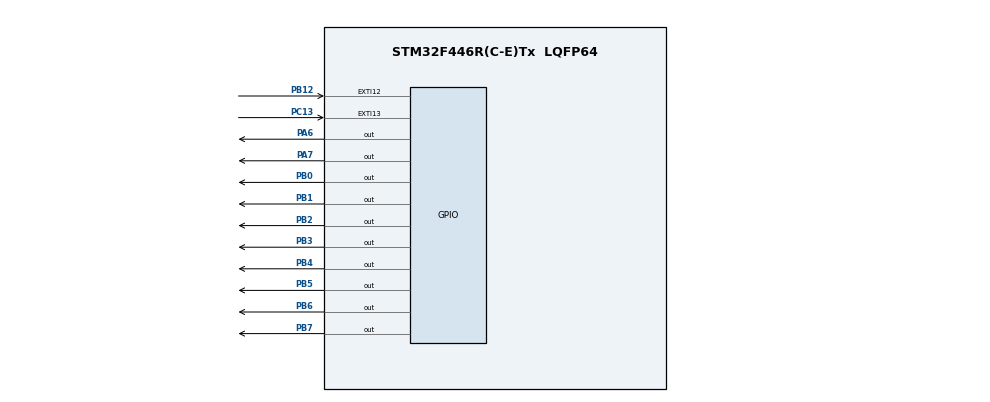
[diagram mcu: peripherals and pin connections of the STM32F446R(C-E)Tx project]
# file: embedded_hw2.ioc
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Mcu.Family=STM32F4
Mcu.Name=STM32F446R(C-E)Tx
Mcu.Package=LQFP64
NVIC.EXTI15_10_IRQn=true\:0\:0\:false\:false\:true\:true\:true\:true
NVIC.PriorityGroup=NVIC_PRIORITYGROUP_4
NVIC.TIM2_IRQn=true\:0\:0\:false\:false\:true\:true\:true\:true
PA6.GPIO_PuPd=GPIO_NOPULL
PA6.Signal=GPIO_Output
PA7.Signal=GPIO_Output
PB0.Signal=GPIO_Output
PB1.Signal=GPIO_Output
PB12.GPIO_PuPd=GPIO_PULLUP
PB12.Signal=GPXTI12
PB2.Signal=GPIO_Output
PB3.Signal=GPIO_Output
PB4.Signal=GPIO_Output
PB5.Signal=GPIO_Output
PB6.Signal=GPIO_Output
PB7.Signal=GPIO_Output
PC13.GPIO_ModeDefaultEXTI=GPIO_MODE_IT_FALLING
PC13.GPIO_PuPd=GPIO_PULLUP
PC13.Signal=GPXTI13
ProjectManager.HeapSize=0x200
ProjectManager.StackSize=0x400
ProjectManager.TargetToolchain=STM32CubeIDE
RCC.CortexFreq_Value=16000000
RCC.USBFreq_Value=96000000
RCC.VCOOutputFreq_Value=192000000
TIM2.Period=9
TIM2.Prescaler=8399
VP_TIM2_VS_ClockSourceINT.Mode=Internal
board=custom

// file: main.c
/* USER CODE BEGIN Header */
/**
  ******************************************************************************
  * @file           : main.c
  * @brief          : Main program body
  ******************************************************************************
  */
/* USER CODE END Header */
#include "main.h"

TIM_HandleTypeDef htim2;

/* USER CODE BEGIN PV */
volatile uint8_t count = 0x00;

volatile uint32_t lastUpMs = 0;
volatile uint32_t lastDownMs = 0;
const uint32_t debounceMs = 500;

volatile uint8_t muxDigit = 0;
/* USER CODE END PV */

void SystemClock_Config(void);
static void MX_GPIO_Init(void);
static void MX_TIM2_Init(void);

/* USER CODE BEGIN 0 */

const uint8_t segFont[16] = {
  0x3F, // 0
  0x06, // 1
  0x5B, // 2
  0x4F, // 3
  0x66, // 4
  0x6D, // 5
  0x7D, // 6
  0x07, // 7
  0x7F, // 8
  0x6F, // 9
  0x77, // A
  0x7C, // b
  0x39, // C
  0x5E, // d
  0x79, // E
  0x71  // F
};

static inline void Segments_Write(uint8_t pattern)
{
  for (int i = 0; i < 8; i++)
  {
    HAL_GPIO_WritePin(GPIOB, (GPIO_PIN_0 << i),
                      (pattern & (1 << i)) ? GPIO_PIN_SET : GPIO_PIN_RESET);
  }
}

static inline void Digit_Enable(uint8_t digit)
{

  HAL_GPIO_WritePin(GPIOA, GPIO_PIN_6 | GPIO_PIN_7, GPIO_PIN_RESET);

  if (digit == 0)
    HAL_GPIO_WritePin(GPIOA, GPIO_PIN_6, GPIO_PIN_SET);
  else
    HAL_GPIO_WritePin(GPIOA, GPIO_PIN_7, GPIO_PIN_SET);
}
/* USER CODE END 0 */

int main(void)
{

  /* MCU Configuration--------------------------------------------------------*/

  /* Reset of all peripherals, Initializes the Flash interface and the Systick. */
  HAL_Init();

  /* Configure the system clock */
  SystemClock_Config();

  /* Initialize all configured peripherals */
  MX_GPIO_Init();
  MX_TIM2_Init();
  /* USER CODE BEGIN 2 */
  HAL_TIM_Base_Start_IT(&htim2);
  /* USER CODE END 2 */

  /* Infinite loop */
  while (1)
  {

  }
}

void SystemClock_Config(void)
{
  RCC_OscInitTypeDef RCC_OscInitStruct = {0};
  RCC_ClkInitTypeDef RCC_ClkInitStruct = {0};

  /** Configure the main internal regulator output voltage
  */
  __HAL_RCC_PWR_CLK_ENABLE();
  __HAL_PWR_VOLTAGESCALING_CONFIG(PWR_REGULATOR_VOLTAGE_SCALE3);

  /** Initializes the RCC Oscillators according to the specified parameters
  * in the RCC_OscInitTypeDef structure.
  */
  RCC_OscInitStruct.OscillatorType = RCC_OSCILLATORTYPE_HSI;
  RCC_OscInitStruct.HSIState = RCC_HSI_ON;
  RCC_OscInitStruct.HSICalibrationValue = RCC_HSICALIBRATION_DEFAULT;
  RCC_OscInitStruct.PLL.PLLState = RCC_PLL_NONE;
  if (HAL_RCC_OscConfig(&RCC_OscInitStruct) != HAL_OK)
  {
    Error_Handler();
  }

  /** Initializes the CPU, AHB and APB buses clocks
  */
  RCC_ClkInitStruct.ClockType = RCC_CLOCKTYPE_HCLK|RCC_CLOCKTYPE_SYSCLK
                              |RCC_CLOCKTYPE_PCLK1|RCC_CLOCKTYPE_PCLK2;
  RCC_ClkInitStruct.SYSCLKSource = RCC_SYSCLKSOURCE_HSI;
  RCC_ClkInitStruct.AHBCLKDivider = RCC_SYSCLK_DIV1;
  RCC_ClkInitStruct.APB1CLKDivider = RCC_HCLK_DIV1;
  RCC_ClkInitStruct.APB2CLKDivider = RCC_HCLK_DIV1;

  if (HAL_RCC_ClockConfig(&RCC_ClkInitStruct, FLASH_LATENCY_0) != HAL_OK)
  {
    Error_Handler();
  }
}

static void MX_TIM2_Init(void)
{

  TIM_ClockConfigTypeDef sClockSourceConfig = {0};
  TIM_MasterConfigTypeDef sMasterConfig = {0};

  htim2.Instance = TIM2;
  htim2.Init.Prescaler = 8399;
  htim2.Init.CounterMode = TIM_COUNTERMODE_UP;
  htim2.Init.Period = 9;
  htim2.Init.ClockDivision = TIM_CLOCKDIVISION_DIV1;
  htim2.Init.AutoReloadPreload = TIM_AUTORELOAD_PRELOAD_DISABLE;
  if (HAL_TIM_Base_Init(&htim2) != HAL_OK)
  {
    Error_Handler();
  }
  sClockSourceConfig.ClockSource = TIM_CLOCKSOURCE_INTERNAL;
  if (HAL_TIM_ConfigClockSource(&htim2, &sClockSourceConfig) != HAL_OK)
  {
    Error_Handler();
  }
  sMasterConfig.MasterOutputTrigger = TIM_TRGO_RESET;
  sMasterConfig.MasterSlaveMode = TIM_MASTERSLAVEMODE_DISABLE;
  if (HAL_TIMEx_MasterConfigSynchronization(&htim2, &sMasterConfig) != HAL_OK)
  {
    Error_Handler();
  }
  /* USER CODE BEGIN TIM2_Init 2 */

  HAL_NVIC_SetPriority(TIM2_IRQn, 1, 0);
  HAL_NVIC_EnableIRQ(TIM2_IRQn);

  /* USER CODE END TIM2_Init 2 */

}

static void MX_GPIO_Init(void)
{
  GPIO_InitTypeDef GPIO_InitStruct = {0};

  /* GPIO Ports Clock Enable */
  __HAL_RCC_GPIOC_CLK_ENABLE();
  __HAL_RCC_GPIOA_CLK_ENABLE();
  __HAL_RCC_GPIOB_CLK_ENABLE();

  /*Configure GPIO pin Output Level */
  HAL_GPIO_WritePin(GPIOA, GPIO_PIN_6|GPIO_PIN_7, GPIO_PIN_RESET);

  /*Configure GPIO pin Output Level */
  HAL_GPIO_WritePin(GPIOB, GPIO_PIN_0|GPIO_PIN_1|GPIO_PIN_2|GPIO_PIN_3
                          |GPIO_PIN_4|GPIO_PIN_5|GPIO_PIN_6|GPIO_PIN_7, GPIO_PIN_RESET);

  /*Configure GPIO pin : PC13 */
  GPIO_InitStruct.Pin = GPIO_PIN_13;
  GPIO_InitStruct.Mode = GPIO_MODE_IT_FALLING;
  GPIO_InitStruct.Pull = GPIO_PULLUP;
  HAL_GPIO_Init(GPIOC, &GPIO_InitStruct);

  /*Configure GPIO pins : PA6 PA7 */
  GPIO_InitStruct.Pin = GPIO_PIN_6|GPIO_PIN_7;
  GPIO_InitStruct.Mode = GPIO_MODE_OUTPUT_PP;
  GPIO_InitStruct.Pull = GPIO_NOPULL;
  GPIO_InitStruct.Speed = GPIO_SPEED_FREQ_LOW;
  HAL_GPIO_Init(GPIOA, &GPIO_InitStruct);

  /*Configure GPIO pins : PB0 PB1 PB2 PB3
                           PB4 PB5 PB6 PB7 */
  GPIO_InitStruct.Pin = GPIO_PIN_0|GPIO_PIN_1|GPIO_PIN_2|GPIO_PIN_3
                          |GPIO_PIN_4|GPIO_PIN_5|GPIO_PIN_6|GPIO_PIN_7;
  GPIO_InitStruct.Mode = GPIO_MODE_OUTPUT_PP;
  GPIO_InitStruct.Pull = GPIO_NOPULL;
  GPIO_InitStruct.Speed = GPIO_SPEED_FREQ_LOW;
  HAL_GPIO_Init(GPIOB, &GPIO_InitStruct);

  /*Configure GPIO pin : PB12 */
  GPIO_InitStruct.Pin = GPIO_PIN_12;
  GPIO_InitStruct.Mode = GPIO_MODE_IT_RISING;
  GPIO_InitStruct.Pull = GPIO_PULLUP;
  HAL_GPIO_Init(GPIOB, &GPIO_InitStruct);

  /* EXTI interrupt init*/
  HAL_NVIC_SetPriority(EXTI15_10_IRQn, 0, 0);
  HAL_NVIC_EnableIRQ(EXTI15_10_IRQn);

}

/* USER CODE BEGIN 4 */

void HAL_TIM_PeriodElapsedCallback(TIM_HandleTypeDef *htim)
{
  if (htim->Instance == TIM2)
  {
    uint8_t lsb = count & 0x0F;
    uint8_t msb = (count >> 4) & 0x0F;

    if (muxDigit == 0)
    {
      Segments_Write(segFont[lsb]);
      Digit_Enable(0);
      muxDigit = 1;
    }
    else
    {
      Segments_Write(segFont[msb]);
      Digit_Enable(1);
      muxDigit = 0;
    }
  }
}

void HAL_GPIO_EXTI_Callback(uint16_t GPIO_Pin)
{
  uint32_t now = HAL_GetTick();

  if (GPIO_Pin == GPIO_PIN_13)
  {
    if (now - lastUpMs > debounceMs)
    {
      lastUpMs = now;
      if (count < 0x1F) count++;
    }
  }
  else if (GPIO_Pin == GPIO_PIN_12)
  {
    if (now - lastDownMs > debounceMs)
    {
      lastDownMs = now;
      if (count > 0x00) count--;
    }
  }
}

/* USER CODE END 4 */

void Error_Handler(void)
{
  __disable_irq();
  while (1)
  {
  }
}
